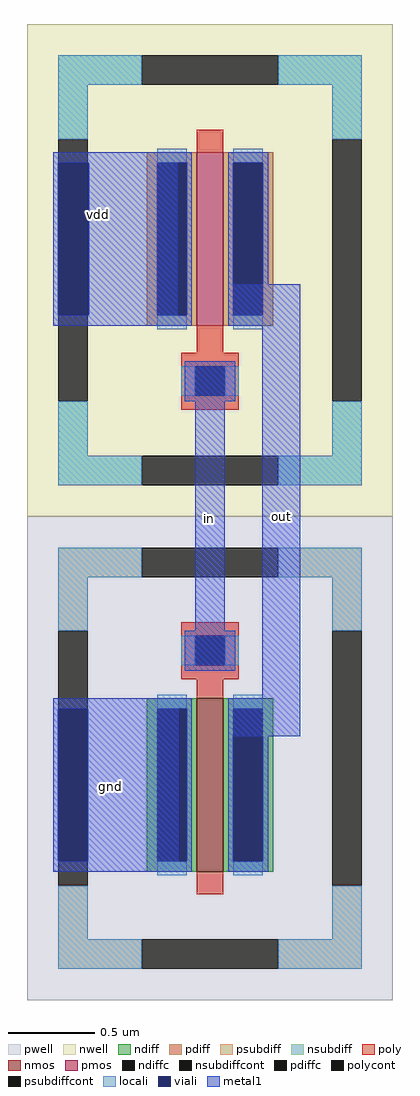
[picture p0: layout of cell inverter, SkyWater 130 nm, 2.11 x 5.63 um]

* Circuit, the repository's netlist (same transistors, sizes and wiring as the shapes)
** sch_path: /home/mona121130125/percobaan_layout/inverter.sch
.subckt inverter vdd in out gnd
*.PININFO in:I out:O vdd:B gnd:B
XM1 out in vdd vdd sky130_fd_pr__pfet_01v8 L=0.15 W=1 nf=1 m=1
XM2 out in gnd gnd sky130_fd_pr__nfet_01v8 L=0.15 W=1 nf=1 m=1
.ends
.end

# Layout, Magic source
magic
tech sky130A
magscale 1 2
<< viali >>
rect 670 854 705 1030
rect 670 224 704 400
<< metal1 >>
rect 664 1030 808 1042
rect 664 854 670 1030
rect 705 854 808 1030
rect 664 842 808 854
rect 872 846 949 890
rect 896 842 949 846
rect 828 450 862 796
rect 905 412 949 842
rect 664 400 809 412
rect 664 224 670 400
rect 704 224 809 400
rect 866 368 949 412
rect 664 212 809 224
use sky130_fd_pr__pfet_01v8_LGS3BL  XM1
transform 1 0 845 0 1 906
box -211 -284 211 284
use sky130_fd_pr__nfet_01v8_64Z3AY  XM2
transform 1 0 845 0 1 343
box -211 -279 211 279
<< labels >>
flabel metal1 716 970 716 970 0 FreeSans 160 0 0 0 vdd
port 1 nsew
flabel metal1 730 310 730 310 0 FreeSans 160 0 0 0 gnd
port 3 nsew
flabel metal1 844 620 844 620 0 FreeSans 160 0 0 0 in
port 5 nsew
flabel metal1 928 622 928 622 0 FreeSans 160 0 0 0 out
port 7 nsew
<< end >>

# cell sky130_fd_pr__pfet_01v8_LGS3BL: kit device sky130_fd_pr__pfet_01v8, w 1.0 l 0.15 m 1 nf 1 diffcov 100 polycov 100 guard 1 glc 1 grc 1 gtc 1 gbc 1 tbcov 100 rlcov 100 topc 0 botc 1 poverlap 0 doverlap 1 lmin 0.15 wmin 0.42 compatible {sky130_fd_pr__pfet_01v8 sky130_fd_pr__pfet_01v8_lvt sky130_fd_pr__pfet_01v8_hvt sky130_fd_pr__pfet_g5v0d10v5} full_metal 1 viasrc 100 viadrn 100 viagate 100 viagb 0 viagr 0 viagl 0 viagt 0

# cell sky130_fd_pr__nfet_01v8_64Z3AY: kit device sky130_fd_pr__nfet_01v8, w 1.0 l 0.15 m 1 nf 1 diffcov 100 polycov 100 guard 1 glc 1 grc 1 gtc 1 gbc 1 tbcov 100 rlcov 100 topc 1 botc 0 poverlap 0 doverlap 1 lmin 0.15 wmin 0.42 compatible {sky130_fd_pr__nfet_01v8 sky130_fd_pr__nfet_01v8_lvt sky130_fd_bs_flash__special_sonosfet_star sky130_fd_pr__nfet_g5v0d10v5 sky130_fd_pr__nfet_05v0_nvt sky130_fd_pr__nfet_03v3_nvt} full_metal 1 viasrc 100 viadrn 100 viagate 100 viagb 0 viagr 0 viagl 0 viagt 0
